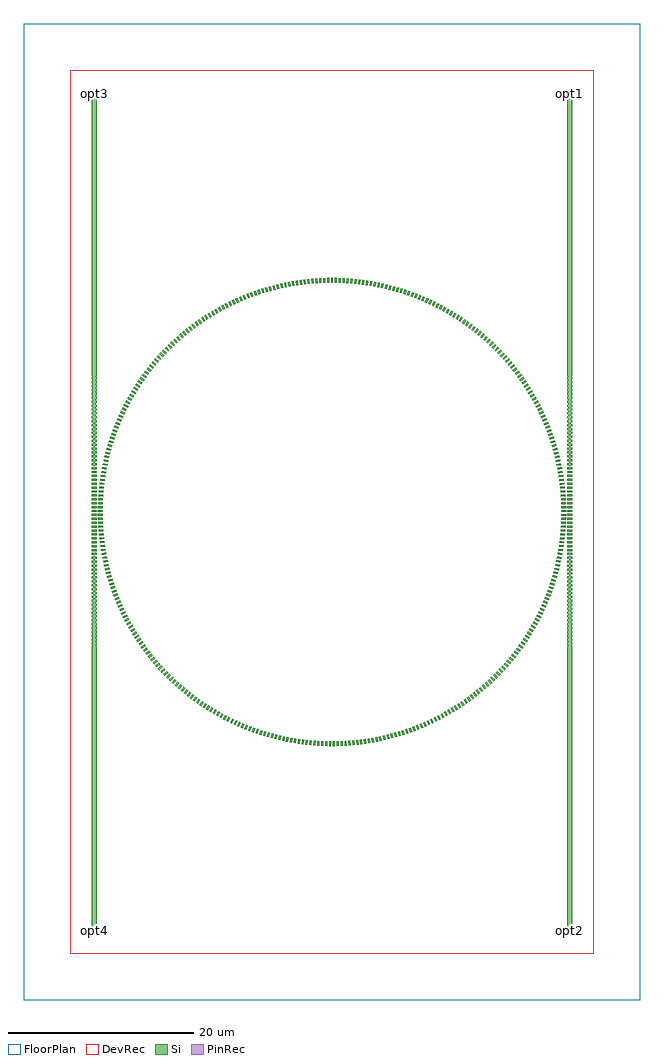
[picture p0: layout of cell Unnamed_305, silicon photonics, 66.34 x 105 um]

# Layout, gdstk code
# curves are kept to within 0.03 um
import gdstk
lib = gdstk.Library(unit=1e-6, precision=1e-09)
def R(c, l, rs):  # rectangles x0, y0, x1, y1
    for r in rs: c.add(gdstk.rectangle(r[:2], r[2:], *l))
def A(c, l, x, y, w, h, nx, ny, dx, dy):  # array of equal rectangles
    R(c, l, [(x+i*dx, y+j*dy, x+i*dx+w, y+j*dy+h) for i in range(nx) for j in range(ny)])
def P(c, l, *ps):  # polygons
    for p in ps: c.add(gdstk.Polygon(p, *l))
Si = (1, 0)
PinRec = (1, 10)
DevRec = (68, 0)
FloorPlan = (99, 0)

unnamed_305 = lib.new_cell('Unnamed_305')
A(unnamed_305, Si, -25.828, -4.62, 0.5, 0.21, 1, 23, 0, 0.42)
A(unnamed_305, Si, 25.328, -4.62, 0.5, 0.21, 1, 23, 0, 0.42)
P(unnamed_305, Si, [(-0.103,24.683),(-0.105,25.183),(0.107,25.183),(0.105,24.683)],
  [(12.76,21.129),(12.581,21.236),(12.836,21.666),(13.018,21.557)],
  [(10.937,22.128),(10.75,22.219),(10.968,22.669),(11.159,22.576)],
  [(10.563,22.309),(10.375,22.397),(10.585,22.851),(10.777,22.761)],
  [(10.186,22.484),(9.996,22.569),(10.198,23.026),(10.392,22.939)],
  [(25.548,4.91),(25.545,5.04),(25.328,5.04),(25.328,5.25),(25.541,5.25),(25.536,5.46),(25.328,5.46),(25.328,5.67),(25.531,5.67),(25.527,5.88),(25.328,5.88),(25.328,6.09),(25.522,6.09),(25.517,6.3),(25.328,6.3),(25.328,6.51),(25.513,6.51),(25.508,6.72),(25.328,6.72),(25.328,6.93),(25.504,6.93),(25.499,7.14),(25.328,7.14),(25.328,7.35),(25.494,7.35),(25.49,7.56),(25.328,7.56),(25.328,7.77),(25.485,7.77),(25.48,7.98),(25.328,7.98),(25.328,8.19),(25.476,8.19),(25.471,8.4),(25.328,8.4),(25.328,8.61),(25.467,8.61),(25.462,8.82),(25.328,8.82),(25.328,9.03),(25.457,9.03),(25.453,9.24),(25.328,9.24),(25.328,9.45),(25.448,9.45),(25.443,9.66),(25.328,9.66),(25.328,9.87),(25.439,9.87),(25.434,10.08),(25.328,10.08),(25.328,10.29),(25.43,10.29),(25.425,10.5),(25.328,10.5),(25.328,10.71),(25.42,10.71),(25.416,10.92),(25.328,10.92),(25.328,11.13),(25.411,11.13),(25.407,11.34),(25.328,11.34),(25.328,11.55),(25.402,11.55),(25.397,11.76),(25.328,11.76),(25.328,11.97),(25.393,11.97),(25.388,12.18),(25.328,12.18),(25.328,12.39),(25.383,12.39),(25.379,12.6),(25.328,12.6),(25.328,12.81),(25.374,12.81),(25.37,13.02),(25.328,13.02),(25.328,13.23),(25.365,13.23),(25.36,13.44),(25.328,13.44),(25.328,45),(25.828,45),(25.828,13.44),(25.796,13.44),(25.791,13.23),(25.828,13.23),(25.828,13.02),(25.786,13.02),(25.782,12.81),(25.828,12.81),(25.828,12.6),(25.777,12.6),(25.773,12.39),(25.828,12.39),(25.828,12.18),(25.768,12.18),(25.763,11.97),(25.828,11.97),(25.828,11.76),(25.759,11.76),(25.754,11.55),(25.828,11.55),(25.828,11.34),(25.749,11.34),(25.745,11.13),(25.828,11.13),(25.828,10.92),(25.74,10.92),(25.736,10.71),(25.828,10.71),(25.828,10.5),(25.731,10.5),(25.726,10.29),(25.828,10.29),(25.828,10.08),(25.722,10.08),(25.717,9.87),(25.828,9.87),(25.828,9.66),(25.712,9.66),(25.708,9.45),(25.828,9.45),(25.828,9.24),(25.703,9.24),(25.699,9.03),(25.828,9.03),(25.828,8.82),(25.694,8.82),(25.689,8.61),(25.828,8.61),(25.828,8.4),(25.685,8.4),(25.68,8.19),(25.828,8.19),(25.828,7.98),(25.676,7.98),(25.671,7.77),(25.828,7.77),(25.828,7.56),(25.666,7.56),(25.662,7.35),(25.828,7.35),(25.828,7.14),(25.657,7.14),(25.652,6.93),(25.828,6.93),(25.828,6.72),(25.648,6.72),(25.643,6.51),(25.828,6.51),(25.828,6.3),(25.639,6.3),(25.634,6.09),(25.828,6.09),(25.828,5.88),(25.629,5.88),(25.625,5.67),(25.828,5.67),(25.828,5.46),(25.62,5.46),(25.615,5.25),(25.828,5.25),(25.828,5.04),(25.611,5.04),(25.608,4.91)],
  [(9.422,22.814),(9.23,22.893),(9.417,23.356),(9.613,23.276)],
  [(9.037,22.969),(8.843,23.045),(9.022,23.512),(9.22,23.435)],
  [(8.649,23.118),(8.454,23.19),(8.625,23.66),(8.824,23.587)],
  [(8.258,23.261),(8.062,23.33),(8.225,23.802),(8.425,23.732)],
  [(7.865,23.397),(7.668,23.462),(7.823,23.937),(8.024,23.871)],
  [(7.47,23.526),(7.271,23.588),(7.419,24.066),(7.621,24.002)],
  [(7.073,23.648),(6.873,23.707),(7.012,24.187),(7.216,24.127)],
  [(6.673,23.764),(6.473,23.819),(6.604,24.302),(6.808,24.245)],
  [(6.272,23.873),(6.071,23.925),(6.194,24.41),(6.399,24.357)],
  [(5.869,23.975),(5.667,24.024),(5.782,24.511),(5.988,24.461)],
  [(5.464,24.071),(5.261,24.116),(5.368,24.604),(5.575,24.558)],
  [(5.058,24.159),(4.854,24.201),(4.953,24.691),(5.161,24.649)],
  [(4.65,24.241),(4.446,24.279),(4.536,24.771),(4.745,24.732)],
  [(4.241,24.316),(4.037,24.351),(4.118,24.844),(4.327,24.809)],
  [(3.831,24.384),(3.626,24.415),(3.699,24.91),(3.909,24.878)],
  [(3.42,24.445),(3.214,24.473),(3.279,24.969),(3.489,24.94)],
  [(3.008,24.499),(2.801,24.524),(2.858,25.02),(3.069,24.996)],
  [(2.595,24.546),(2.388,24.567),(2.436,25.065),(2.647,25.044)],
  [(2.181,24.587),(1.974,24.604),(2.014,25.103),(2.225,25.085)],
  [(1.766,24.62),(1.559,24.634),(1.591,25.133),(1.802,25.119)],
  [(1.352,24.646),(1.144,24.657),(1.167,25.156),(1.379,25.145)],
  [(0.936,24.665),(0.728,24.672),(0.743,25.172),(0.955,25.165)],
  [(0.521,24.678),(0.313,24.681),(0.319,25.181),(0.531,25.178)],
  [(9.805,22.652),(9.614,22.734),(9.809,23.194),(10.004,23.111)],
  [(12.402,21.341),(12.222,21.445),(12.469,21.879),(12.653,21.774)],
  [(12.041,21.547),(11.859,21.648),(12.099,22.086),(12.285,21.984)],
  [(11.676,21.747),(11.493,21.844),(11.725,22.287),(11.913,22.187)],
  [(11.308,21.94),(11.123,22.035),(11.348,22.481),(11.537,22.385)],
  [(23.008,8.939),(22.932,9.133),(23.396,9.318),(23.474,9.12)],
  [(22.854,9.325),(22.774,9.518),(23.236,9.71),(23.317,9.514)],
  [(22.693,9.709),(22.611,9.9),(23.069,10.1),(23.153,9.906)],
  [(22.527,10.09),(22.441,10.279),(22.896,10.488),(22.983,10.294)],
  [(22.354,10.468),(22.265,10.656),(22.716,10.872),(22.806,10.68)],
  [(22.174,10.843),(22.082,11.029),(22.529,11.253),(22.623,11.063)],
  [(21.988,11.215),(21.893,11.4),(22.337,11.631),(22.434,11.442)],
  [(21.796,11.584),(21.698,11.767),(22.137,12.005),(22.238,11.818)],
  [(21.598,11.949),(21.497,12.131),(21.932,12.376),(22.036,12.191)],
  [(21.394,12.311),(21.289,12.491),(21.721,12.744),(21.827,12.561)],
  [(21.183,12.67),(21.076,12.848),(21.503,13.108),(21.612,12.927)],
  [(20.967,13.025),(20.856,13.201),(21.279,13.468),(21.392,13.289)],
  [(20.745,13.376),(20.631,13.55),(21.049,13.825),(21.165,13.647)],
  [(20.516,13.724),(20.4,13.896),(20.813,14.178),(20.932,14.002)],
  [(20.282,14.067),(20.163,14.238),(20.571,14.526),(20.693,14.352)],
  [(20.042,14.407),(19.92,14.575),(20.324,14.871),(20.448,14.699)],
  [(19.797,14.743),(19.672,14.909),(20.071,15.211),(20.198,15.041)],
  [(19.546,15.074),(19.418,15.238),(19.811,15.547),(19.942,15.379)],
  [(19.289,15.401),(19.159,15.563),(19.547,15.878),(19.68,15.713)],
  [(19.027,15.724),(18.894,15.883),(19.277,16.205),(19.412,16.042)],
  [(18.759,16.042),(18.624,16.199),(19.001,16.528),(19.139,16.367)],
  [(18.487,16.356),(18.348,16.511),(18.72,16.845),(18.861,16.687)],
  [(18.208,16.665),(18.067,16.818),(18.433,17.158),(18.577,17.002)],
  [(17.925,16.969),(17.782,17.119),(18.142,17.466),(18.288,17.313)],
  [(17.637,17.269),(17.491,17.417),(17.845,17.769),(17.994,17.618)],
  [(17.343,17.563),(17.195,17.709),(17.543,18.067),(17.695,17.919)],
  [(17.045,17.853),(16.894,17.996),(17.236,18.36),(17.39,18.215)],
  [(16.742,18.137),(16.589,18.278),(16.925,18.648),(17.081,18.505)],
  [(16.434,18.417),(16.278,18.555),(16.608,18.93),(16.767,18.79)],
  [(16.122,18.691),(15.964,18.826),(16.287,19.208),(16.448,19.07)],
  [(15.804,18.96),(15.644,19.092),(15.961,19.479),(16.125,19.344)],
  [(15.483,19.223),(15.32,19.353),(15.631,19.745),(15.796,19.613)],
  [(15.157,19.482),(14.992,19.609),(15.296,20.006),(15.464,19.876)],
  [(14.827,19.734),(14.66,19.858),(14.957,20.261),(15.127,20.134)],
  [(14.492,19.981),(14.323,20.102),(14.613,20.51),(14.786,20.386)],
  [(14.153,20.222),(13.983,20.341),(14.266,20.753),(14.44,20.632)],
  [(13.811,20.458),(13.638,20.573),(13.914,20.99),(14.091,20.872)],
  [(13.464,20.688),(13.29,20.8),(13.559,21.222),(13.737,21.107)],
  [(13.114,20.911),(12.937,21.021),(13.199,21.447),(13.38,21.335)],
  [(24.683,0),(24.682,0.208),(25.182,0.212),(25.183,0)],
  [(24.68,0.416),(24.675,0.624),(25.175,0.636),(25.18,0.424)],
  [(24.669,0.831),(24.661,1.039),(25.161,1.06),(25.169,0.848)],
  [(24.652,1.247),(24.64,1.454),(25.139,1.484),(25.151,1.272)],
  [(24.627,1.662),(24.612,1.869),(25.111,1.907),(25.126,1.696)],
  [(24.596,2.076),(24.577,2.284),(25.075,2.33),(25.094,2.118)],
  [(24.557,2.49),(24.535,2.697),(25.032,2.752),(25.055,2.541)],
  [(24.512,2.904),(24.486,3.11),(24.983,3.173),(25.008,2.963)],
  [(24.459,3.316),(24.431,3.522),(24.926,3.593),(24.955,3.383)],
  [(24.4,3.728),(24.368,3.933),(24.861,4.013),(24.894,3.803)],
  [(24.334,4.138),(24.298,4.343),(24.79,4.431),(24.827,4.222)],
  [(24.261,4.547),(24.222,4.752),(24.712,4.848),(24.752,4.64)],
  [(24.181,4.955),(24.138,5.159),(24.627,5.263),(24.67,5.056)],
  [(24.094,5.362),(24.048,5.565),(24.535,5.677),(24.582,5.471)],
  [(24,5.767),(23.951,5.969),(24.436,6.09),(24.486,5.884)],
  [(23.899,6.171),(23.847,6.372),(24.33,6.501),(24.384,6.296)],
  [(23.792,6.572),(23.736,6.772),(24.217,6.91),(24.274,6.705)],
  [(23.678,6.972),(23.619,7.171),(24.097,7.316),(24.158,7.113)],
  [(23.557,7.37),(23.494,7.568),(23.97,7.721),(24.034,7.519)],
  [(23.43,7.766),(23.364,7.963),(23.837,8.124),(23.904,7.923)],
  [(23.296,8.159),(23.226,8.355),(23.697,8.524),(23.768,8.324)],
  [(23.155,8.55),(23.082,8.745),(23.55,8.922),(23.624,8.724)],
  [(-12.758,21.13),(-13.017,21.558),(-12.835,21.667),(-12.58,21.237)],
  [(-10.935,22.129),(-11.157,22.577),(-10.966,22.67),(-10.749,22.22)],
  [(-10.561,22.31),(-10.775,22.762),(-10.583,22.852),(-10.373,22.398)],
  [(-10.184,22.484),(-10.39,22.94),(-10.197,23.027),(-9.994,22.569)],
  [(-25.608,4.91),(-25.611,5.04),(-25.828,5.04),(-25.828,5.25),(-25.615,5.25),(-25.62,5.46),(-25.828,5.46),(-25.828,5.67),(-25.625,5.67),(-25.629,5.88),(-25.828,5.88),(-25.828,6.09),(-25.634,6.09),(-25.639,6.3),(-25.828,6.3),(-25.828,6.51),(-25.643,6.51),(-25.648,6.72),(-25.828,6.72),(-25.828,6.93),(-25.652,6.93),(-25.657,7.14),(-25.828,7.14),(-25.828,7.35),(-25.662,7.35),(-25.666,7.56),(-25.828,7.56),(-25.828,7.77),(-25.671,7.77),(-25.676,7.98),(-25.828,7.98),(-25.828,8.19),(-25.68,8.19),(-25.685,8.4),(-25.828,8.4),(-25.828,8.61),(-25.689,8.61),(-25.694,8.82),(-25.828,8.82),(-25.828,9.03),(-25.699,9.03),(-25.703,9.24),(-25.828,9.24),(-25.828,9.45),(-25.708,9.45),(-25.713,9.66),(-25.828,9.66),(-25.828,9.87),(-25.717,9.87),(-25.722,10.08),(-25.828,10.08),(-25.828,10.29),(-25.726,10.29),(-25.731,10.5),(-25.828,10.5),(-25.828,10.71),(-25.736,10.71),(-25.74,10.92),(-25.828,10.92),(-25.828,11.13),(-25.745,11.13),(-25.749,11.34),(-25.828,11.34),(-25.828,11.55),(-25.754,11.55),(-25.759,11.76),(-25.828,11.76),(-25.828,11.97),(-25.763,11.97),(-25.768,12.18),(-25.828,12.18),(-25.828,12.39),(-25.773,12.39),(-25.777,12.6),(-25.828,12.6),(-25.828,12.81),(-25.782,12.81),(-25.786,13.02),(-25.828,13.02),(-25.828,13.23),(-25.791,13.23),(-25.796,13.44),(-25.828,13.44),(-25.828,45),(-25.328,45),(-25.328,13.44),(-25.36,13.44),(-25.365,13.23),(-25.328,13.23),(-25.328,13.02),(-25.37,13.02),(-25.374,12.81),(-25.328,12.81),(-25.328,12.6),(-25.379,12.6),(-25.383,12.39),(-25.328,12.39),(-25.328,12.18),(-25.388,12.18),(-25.393,11.97),(-25.328,11.97),(-25.328,11.76),(-25.397,11.76),(-25.402,11.55),(-25.328,11.55),(-25.328,11.34),(-25.407,11.34),(-25.411,11.13),(-25.328,11.13),(-25.328,10.92),(-25.416,10.92),(-25.42,10.71),(-25.328,10.71),(-25.328,10.5),(-25.425,10.5),(-25.43,10.29),(-25.328,10.29),(-25.328,10.08),(-25.434,10.08),(-25.439,9.87),(-25.328,9.87),(-25.328,9.66),(-25.444,9.66),(-25.448,9.45),(-25.328,9.45),(-25.328,9.24),(-25.453,9.24),(-25.457,9.03),(-25.328,9.03),(-25.328,8.82),(-25.462,8.82),(-25.467,8.61),(-25.328,8.61),(-25.328,8.4),(-25.471,8.4),(-25.476,8.19),(-25.328,8.19),(-25.328,7.98),(-25.48,7.98),(-25.485,7.77),(-25.328,7.77),(-25.328,7.56),(-25.49,7.56),(-25.494,7.35),(-25.328,7.35),(-25.328,7.14),(-25.499,7.14),(-25.504,6.93),(-25.328,6.93),(-25.328,6.72),(-25.508,6.72),(-25.513,6.51),(-25.328,6.51),(-25.328,6.3),(-25.517,6.3),(-25.522,6.09),(-25.328,6.09),(-25.328,5.88),(-25.527,5.88),(-25.531,5.67),(-25.328,5.67),(-25.328,5.46),(-25.536,5.46),(-25.541,5.25),(-25.328,5.25),(-25.328,5.04),(-25.545,5.04),(-25.548,4.91)],
  [(-9.421,22.815),(-9.612,23.277),(-9.415,23.357),(-9.228,22.893)],
  [(-9.035,22.97),(-9.218,23.435),(-9.02,23.512),(-8.841,23.045)],
  [(-8.647,23.119),(-8.822,23.587),(-8.623,23.661),(-8.452,23.191)],
  [(-8.256,23.261),(-8.424,23.733),(-8.223,23.803),(-8.06,23.33)],
  [(-7.863,23.397),(-8.023,23.871),(-7.821,23.938),(-7.666,23.463)],
  [(-7.468,23.526),(-7.619,24.003),(-7.417,24.066),(-7.27,23.588)],
  [(-7.071,23.649),(-7.214,24.128),(-7.011,24.188),(-6.871,23.707)],
  [(-6.671,23.765),(-6.807,24.246),(-6.602,24.302),(-6.471,23.82)],
  [(-6.27,23.874),(-6.397,24.357),(-6.192,24.41),(-6.069,23.925)],
  [(-5.867,23.976),(-5.986,24.461),(-5.78,24.511),(-5.665,24.024)],
  [(-5.463,24.071),(-5.573,24.559),(-5.366,24.605),(-5.26,24.116)],
  [(-5.056,24.16),(-5.159,24.649),(-4.951,24.692),(-4.853,24.202)],
  [(-4.649,24.242),(-4.743,24.733),(-4.534,24.772),(-4.444,24.28)],
  [(-4.24,24.316),(-4.326,24.809),(-4.116,24.844),(-4.035,24.351)],
  [(-3.83,24.384),(-3.907,24.878),(-3.697,24.91),(-3.624,24.416)],
  [(-3.418,24.445),(-3.487,24.941),(-3.277,24.969),(-3.212,24.473)],
  [(-3.006,24.499),(-3.067,24.996),(-2.856,25.021),(-2.8,24.524)],
  [(-2.593,24.547),(-2.645,25.044),(-2.434,25.065),(-2.386,24.568)],
  [(-2.179,24.587),(-2.223,25.085),(-2.012,25.103),(-1.972,24.604)],
  [(-1.765,24.62),(-1.8,25.119),(-1.589,25.133),(-1.557,24.634)],
  [(-1.35,24.646),(-1.377,25.146),(-1.165,25.156),(-1.142,24.657)],
  [(-0.934,24.666),(-0.953,25.165),(-0.741,25.172),(-0.727,24.673)],
  [(-0.519,24.678),(-0.529,25.178),(-0.317,25.181),(-0.311,24.681)],
  [(-9.804,22.653),(-10.002,23.112),(-9.807,23.195),(-9.613,22.735)],
  [(-14.491,19.982),(-14.784,20.387),(-14.612,20.511),(-14.322,20.103)],
  [(-23.007,8.941),(-23.473,9.122),(-23.395,9.319),(-22.931,9.134)],
  [(-14.152,20.223),(-14.439,20.633),(-14.264,20.754),(-13.981,20.342)],
  [(-24.459,3.318),(-24.955,3.385),(-24.925,3.595),(-24.43,3.524)],
  [(-13.809,20.459),(-14.089,20.873),(-13.913,20.991),(-13.636,20.574)],
  [(-22.853,9.327),(-23.316,9.516),(-23.235,9.712),(-22.774,9.519)],
  [(-13.463,20.689),(-13.735,21.108),(-13.557,21.223),(-13.288,20.801)],
  [(-13.112,20.912),(-13.378,21.336),(-13.198,21.448),(-12.936,21.022)],
  [(-22.693,9.711),(-23.152,9.907),(-23.068,10.102),(-22.61,9.902)],
  [(-19.026,15.725),(-19.411,16.044),(-19.275,16.207),(-18.893,15.885)],
  [(-22.526,10.092),(-22.982,10.296),(-22.895,10.489),(-22.44,10.281)],
  [(-24.627,1.664),(-25.126,1.697),(-25.111,1.909),(-24.612,1.871)],
  [(-22.353,10.47),(-22.806,10.682),(-22.715,10.873),(-22.264,10.658)],
  [(-24.4,3.73),(-24.894,3.805),(-24.861,4.015),(-24.368,3.935)],
  [(-24.557,2.492),(-25.055,2.543),(-25.032,2.754),(-24.535,2.699)],
  [(-22.173,10.845),(-22.622,11.064),(-22.528,11.254),(-22.081,11.031)],
  [(-18.758,16.043),(-19.138,16.368),(-19,16.529),(-18.622,16.201)],
  [(-23.899,6.172),(-24.383,6.297),(-24.329,6.502),(-23.846,6.373)],
  [(-21.987,11.217),(-22.433,11.444),(-22.336,11.632),(-21.892,11.401)],
  [(-18.485,16.357),(-18.86,16.688),(-18.719,16.847),(-18.347,16.512)],
  [(-18.207,16.666),(-18.576,17.004),(-18.432,17.16),(-18.066,16.819)],
  [(-21.795,11.585),(-22.237,11.82),(-22.137,12.007),(-21.697,11.769)],
  [(-23.792,6.574),(-24.274,6.707),(-24.216,6.911),(-23.735,6.774)],
  [(-21.597,11.951),(-22.035,12.193),(-21.931,12.378),(-21.496,12.132)],
  [(-17.924,16.97),(-18.287,17.314),(-18.14,17.468),(-17.78,17.121)],
  [(-24.334,4.14),(-24.826,4.224),(-24.79,4.433),(-24.298,4.345)],
  [(-24.68,0.418),(-25.18,0.426),(-25.175,0.638),(-24.675,0.625)],
  [(-17.635,17.27),(-17.993,17.62),(-17.844,17.771),(-17.489,17.418)],
  [(-21.393,12.313),(-21.826,12.562),(-21.72,12.746),(-21.288,12.493)],
  [(-23.678,6.974),(-24.157,7.115),(-24.096,7.318),(-23.618,7.173)],
  [(-17.342,17.565),(-17.693,17.92),(-17.542,18.069),(-17.194,17.71)],
  [(-21.182,12.672),(-21.611,12.928),(-21.502,13.11),(-21.075,12.849)],
  [(-24.652,1.249),(-25.151,1.274),(-25.139,1.486),(-24.64,1.456)],
  [(-24.669,0.833),(-25.169,0.85),(-25.161,1.062),(-24.661,1.041)],
  [(-17.044,17.854),(-17.389,18.216),(-17.235,18.362),(-16.893,17.997)],
  [(-20.966,13.026),(-21.391,13.29),(-21.278,13.47),(-20.856,13.203)],
  [(-24.596,2.078),(-25.094,2.12),(-25.075,2.332),(-24.577,2.285)],
  [(-23.557,7.372),(-24.034,7.521),(-23.97,7.723),(-23.494,7.57)],
  [(-20.744,13.378),(-21.164,13.649),(-21.048,13.827),(-20.63,13.552)],
  [(-16.741,18.139),(-17.08,18.506),(-16.923,18.649),(-16.587,18.279)],
  [(-24.26,4.549),(-24.752,4.641),(-24.712,4.85),(-24.221,4.753)],
  [(-24.512,2.906),(-25.008,2.964),(-24.982,3.175),(-24.486,3.112)],
  [(-16.433,18.418),(-16.766,18.791),(-16.607,18.932),(-16.277,18.556)],
  [(-20.515,13.725),(-20.931,14.003),(-20.812,14.179),(-20.399,13.898)],
  [(-23.429,7.767),(-23.904,7.925),(-23.836,8.126),(-23.363,7.964)],
  [(-16.12,18.692),(-16.447,19.071),(-16.286,19.209),(-15.962,18.827)],
  [(-20.281,14.069),(-20.692,14.354),(-20.57,14.528),(-20.162,14.239)],
  [(-24.18,4.957),(-24.67,5.058),(-24.627,5.265),(-24.138,5.161)],
  [(-15.803,18.961),(-16.123,19.345),(-15.96,19.48),(-15.643,19.094)],
  [(-20.041,14.409),(-20.447,14.7),(-20.323,14.872),(-19.919,14.577)],
  [(-23.295,8.161),(-23.767,8.326),(-23.696,8.526),(-23.226,8.357)],
  [(-15.481,19.225),(-15.795,19.614),(-15.629,19.746),(-15.319,19.354)],
  [(-19.796,14.744),(-20.197,15.043),(-20.069,15.212),(-19.671,14.91)],
  [(-24.093,5.364),(-24.581,5.472),(-24.534,5.679),(-24.047,5.567)],
  [(-15.155,19.483),(-15.462,19.877),(-15.294,20.007),(-14.991,19.61)],
  [(-19.545,15.075),(-19.941,15.381),(-19.81,15.548),(-19.417,15.239)],
  [(-23.154,8.552),(-23.623,8.725),(-23.549,8.924),(-23.081,8.747)],
  [(-25.183,0.002),(-25.182,0.214),(-24.682,0.21),(-24.683,0.002)],
  [(-19.288,15.402),(-19.679,15.714),(-19.546,15.88),(-19.158,15.564)],
  [(-14.825,19.735),(-15.125,20.135),(-14.955,20.262),(-14.658,19.859)],
  [(-24,5.769),(-24.486,5.886),(-24.435,6.092),(-23.95,5.971)],
  [(-11.675,21.748),(-11.911,22.188),(-11.724,22.288),(-11.491,21.845)],
  [(-12.039,21.548),(-12.283,21.985),(-12.098,22.087),(-11.857,21.649)],
  [(-11.307,21.941),(-11.536,22.386),(-11.347,22.482),(-11.121,22.036)],
  [(-12.401,21.342),(-12.652,21.774),(-12.468,21.88),(-12.22,21.446)],
  [(-10.394,-22.938),(-10.586,-22.85),(-10.376,-22.396),(-10.187,-22.483)],
  [(-10.778,-22.76),(-10.97,-22.668),(-10.752,-22.218),(-10.564,-22.308)],
  [(-11.16,-22.575),(-11.35,-22.48),(-11.125,-22.034),(-10.939,-22.127)],
  [(-13.02,-21.556),(-13.201,-21.446),(-12.939,-21.02),(-12.761,-21.128)],
  [(-25.828,-45),(-25.828,-13.23),(-25.796,-13.23),(-25.791,-13.02),(-25.828,-13.02),(-25.828,-12.81),(-25.786,-12.81),(-25.782,-12.6),(-25.828,-12.6),(-25.828,-12.39),(-25.777,-12.39),(-25.773,-12.18),(-25.828,-12.18),(-25.828,-11.97),(-25.768,-11.97),(-25.763,-11.76),(-25.828,-11.76),(-25.828,-11.55),(-25.759,-11.55),(-25.754,-11.34),(-25.828,-11.34),(-25.828,-11.13),(-25.749,-11.13),(-25.745,-10.92),(-25.828,-10.92),(-25.828,-10.71),(-25.74,-10.71),(-25.736,-10.5),(-25.828,-10.5),(-25.828,-10.29),(-25.731,-10.29),(-25.726,-10.08),(-25.828,-10.08),(-25.828,-9.87),(-25.722,-9.87),(-25.717,-9.66),(-25.828,-9.66),(-25.828,-9.45),(-25.713,-9.45),(-25.708,-9.24),(-25.828,-9.24),(-25.828,-9.03),(-25.703,-9.03),(-25.699,-8.82),(-25.828,-8.82),(-25.828,-8.61),(-25.694,-8.61),(-25.689,-8.4),(-25.828,-8.4),(-25.828,-8.19),(-25.685,-8.19),(-25.68,-7.98),(-25.828,-7.98),(-25.828,-7.77),(-25.676,-7.77),(-25.671,-7.56),(-25.828,-7.56),(-25.828,-7.35),(-25.666,-7.35),(-25.662,-7.14),(-25.828,-7.14),(-25.828,-6.93),(-25.657,-6.93),(-25.652,-6.72),(-25.828,-6.72),(-25.828,-6.51),(-25.648,-6.51),(-25.643,-6.3),(-25.828,-6.3),(-25.828,-6.09),(-25.639,-6.09),(-25.634,-5.88),(-25.828,-5.88),(-25.828,-5.67),(-25.629,-5.67),(-25.625,-5.46),(-25.828,-5.46),(-25.828,-5.25),(-25.62,-5.25),(-25.615,-5.04),(-25.828,-5.04),(-25.828,-4.83),(-25.611,-4.83),(-25.608,-4.7),(-25.548,-4.7),(-25.545,-4.83),(-25.328,-4.83),(-25.328,-5.04),(-25.541,-5.04),(-25.536,-5.25),(-25.328,-5.25),(-25.328,-5.46),(-25.531,-5.46),(-25.527,-5.67),(-25.328,-5.67),(-25.328,-5.88),(-25.522,-5.88),(-25.517,-6.09),(-25.328,-6.09),(-25.328,-6.3),(-25.513,-6.3),(-25.508,-6.51),(-25.328,-6.51),(-25.328,-6.72),(-25.504,-6.72),(-25.499,-6.93),(-25.328,-6.93),(-25.328,-7.14),(-25.494,-7.14),(-25.49,-7.35),(-25.328,-7.35),(-25.328,-7.56),(-25.485,-7.56),(-25.48,-7.77),(-25.328,-7.77),(-25.328,-7.98),(-25.476,-7.98),(-25.471,-8.19),(-25.328,-8.19),(-25.328,-8.4),(-25.467,-8.4),(-25.462,-8.61),(-25.328,-8.61),(-25.328,-8.82),(-25.457,-8.82),(-25.453,-9.03),(-25.328,-9.03),(-25.328,-9.24),(-25.448,-9.24),(-25.444,-9.45),(-25.328,-9.45),(-25.328,-9.66),(-25.439,-9.66),(-25.434,-9.87),(-25.328,-9.87),(-25.328,-10.08),(-25.43,-10.08),(-25.425,-10.29),(-25.328,-10.29),(-25.328,-10.5),(-25.42,-10.5),(-25.416,-10.71),(-25.328,-10.71),(-25.328,-10.92),(-25.411,-10.92),(-25.407,-11.13),(-25.328,-11.13),(-25.328,-11.34),(-25.402,-11.34),(-25.397,-11.55),(-25.328,-11.55),(-25.328,-11.76),(-25.393,-11.76),(-25.388,-11.97),(-25.328,-11.97),(-25.328,-12.18),(-25.383,-12.18),(-25.379,-12.39),(-25.328,-12.39),(-25.328,-12.6),(-25.374,-12.6),(-25.37,-12.81),(-25.328,-12.81),(-25.328,-13.02),(-25.365,-13.02),(-25.36,-13.23),(-25.328,-13.23),(-25.328,-45)],
  [(-12.286,-21.983),(-12.471,-21.878),(-12.224,-21.444),(-12.042,-21.546)],
  [(-12.655,-21.773),(-12.838,-21.665),(-12.583,-21.235),(-12.404,-21.34)],
  [(-11.539,-22.384),(-11.727,-22.286),(-11.494,-21.844),(-11.31,-21.94)],
  [(-11.914,-22.187),(-12.101,-22.085),(-11.861,-21.647),(-11.678,-21.746)],
  [(-13.739,-21.106),(-13.916,-20.989),(-13.64,-20.572),(-13.466,-20.687)],
  [(-14.092,-20.871),(-14.267,-20.752),(-13.984,-20.34),(-13.812,-20.457)],
  [(-14.442,-20.631),(-14.615,-20.508),(-14.325,-20.101),(-14.155,-20.221)],
  [(-14.787,-20.385),(-14.958,-20.259),(-14.661,-19.857),(-14.494,-19.98)],
  [(-15.128,-20.133),(-15.297,-20.005),(-14.994,-19.607),(-14.828,-19.733)],
  [(-15.465,-19.875),(-15.632,-19.744),(-15.322,-19.352),(-15.158,-19.48)],
  [(-15.798,-19.612),(-15.963,-19.478),(-15.646,-19.091),(-15.484,-19.222)],
  [(-16.126,-19.343),(-16.288,-19.206),(-15.965,-18.825),(-15.806,-18.959)],
  [(-16.45,-19.068),(-16.61,-18.929),(-16.28,-18.553),(-16.123,-18.69)],
  [(-16.768,-18.789),(-16.926,-18.647),(-16.59,-18.277),(-16.435,-18.416)],
  [(-17.082,-18.504),(-17.238,-18.359),(-16.895,-17.995),(-16.743,-18.136)],
  [(-17.392,-18.213),(-17.545,-18.066),(-17.196,-17.707),(-17.046,-17.852)],
  [(-17.696,-17.918),(-17.846,-17.768),(-17.492,-17.415),(-17.345,-17.562)],
  [(-17.995,-17.617),(-18.143,-17.465),(-17.783,-17.118),(-17.638,-17.267)],
  [(-18.29,-17.311),(-18.435,-17.157),(-18.069,-16.816),(-17.926,-16.968)],
  [(-18.579,-17.001),(-18.721,-16.844),(-18.349,-16.509),(-18.21,-16.663)],
  [(-18.862,-16.686),(-19.002,-16.526),(-18.625,-16.198),(-18.488,-16.354)],
  [(-19.141,-16.366),(-19.278,-16.204),(-18.895,-15.882),(-18.761,-16.041)],
  [(-19.414,-16.041),(-19.548,-15.877),(-19.16,-15.562),(-19.028,-15.722)],
  [(-19.681,-15.712),(-19.813,-15.545),(-19.419,-15.237),(-19.29,-15.4)],
  [(-19.943,-15.378),(-20.072,-15.209),(-19.673,-14.907),(-19.547,-15.072)],
  [(-20.199,-15.04),(-20.325,-14.869),(-19.921,-14.574),(-19.798,-14.741)],
  [(-20.449,-14.697),(-20.573,-14.525),(-20.164,-14.236),(-20.043,-14.406)],
  [(-20.694,-14.351),(-20.814,-14.176),(-20.401,-13.895),(-20.283,-14.066)],
  [(-20.933,-14),(-21.05,-13.823),(-20.632,-13.549),(-20.517,-13.722)],
  [(-21.166,-13.646),(-21.28,-13.467),(-20.857,-13.2),(-20.746,-13.375)],
  [(-21.393,-13.287),(-21.504,-13.107),(-21.077,-12.846),(-20.968,-13.023)],
  [(-21.613,-12.925),(-21.721,-12.742),(-21.29,-12.489),(-21.184,-12.668)],
  [(-21.828,-12.559),(-21.933,-12.375),(-21.498,-12.129),(-21.395,-12.31)],
  [(-22.036,-12.19),(-22.138,-12.004),(-21.699,-11.765),(-21.599,-11.948)],
  [(-22.239,-11.817),(-22.337,-11.629),(-21.894,-11.398),(-21.797,-11.582)],
  [(-22.435,-11.44),(-22.53,-11.251),(-22.083,-11.028),(-21.989,-11.213)],
  [(-22.624,-11.061),(-22.716,-10.87),(-22.265,-10.654),(-22.175,-10.841)],
  [(-22.807,-10.678),(-22.896,-10.486),(-22.442,-10.278),(-22.354,-10.466)],
  [(-22.984,-10.293),(-23.07,-10.099),(-22.612,-9.898),(-22.527,-10.088)],
  [(-23.154,-9.904),(-23.237,-9.709),(-22.775,-9.516),(-22.694,-9.707)],
  [(-23.317,-9.513),(-23.397,-9.316),(-22.932,-9.131),(-22.855,-9.324)],
  [(-23.474,-9.119),(-23.55,-8.921),(-23.083,-8.743),(-23.008,-8.937)],
  [(-23.625,-8.722),(-23.697,-8.523),(-23.227,-8.353),(-23.156,-8.549)],
  [(-23.768,-8.323),(-23.837,-8.122),(-23.364,-7.961),(-23.296,-8.157)],
  [(-23.905,-7.921),(-23.971,-7.72),(-23.495,-7.566),(-23.43,-7.764)],
  [(-24.035,-7.517),(-24.098,-7.315),(-23.619,-7.169),(-23.558,-7.368)],
  [(-24.158,-7.111),(-24.217,-6.908),(-23.736,-6.771),(-23.679,-6.97)],
  [(-24.275,-6.704),(-24.33,-6.499),(-23.847,-6.37),(-23.793,-6.57)],
  [(-24.384,-6.294),(-24.436,-6.088),(-23.951,-5.967),(-23.9,-6.169)],
  [(-24.487,-5.882),(-24.535,-5.676),(-24.048,-5.563),(-24,-5.765)],
  [(-24.582,-5.469),(-24.627,-5.262),(-24.138,-5.157),(-24.094,-5.36)],
  [(-24.671,-5.054),(-24.713,-4.846),(-24.222,-4.75),(-24.181,-4.954)],
  [(-13.381,-21.334),(-13.56,-21.221),(-13.291,-20.799),(-13.115,-20.91)],
  [(-24.752,-4.638),(-24.791,-4.429),(-24.298,-4.341),(-24.261,-4.546)],
  [(-24.827,-4.22),(-24.862,-4.011),(-24.368,-3.931),(-24.334,-4.136)],
  [(-24.895,-3.801),(-24.926,-3.592),(-24.431,-3.52),(-24.4,-3.726)],
  [(-24.955,-3.381),(-24.983,-3.171),(-24.487,-3.108),(-24.46,-3.314)],
  [(-25.009,-2.961),(-25.033,-2.75),(-24.536,-2.695),(-24.512,-2.902)],
  [(-25.055,-2.539),(-25.075,-2.328),(-24.578,-2.282),(-24.557,-2.489)],
  [(-25.094,-2.117),(-25.111,-1.905),(-24.612,-1.867),(-24.596,-2.075)],
  [(-25.126,-1.694),(-25.14,-1.482),(-24.64,-1.453),(-24.627,-1.66)],
  [(-25.151,-1.27),(-25.161,-1.058),(-24.661,-1.037),(-24.652,-1.245)],
  [(-25.169,-0.846),(-25.175,-0.634),(-24.675,-0.622),(-24.669,-0.83)],
  [(-25.18,-0.422),(-25.182,-0.21),(-24.682,-0.206),(-24.68,-0.414)],
  [(-7.218,-24.127),(-7.421,-24.065),(-7.273,-23.587),(-7.074,-23.648)],
  [(-7.623,-24.002),(-7.825,-23.937),(-7.67,-23.461),(-7.472,-23.525)],
  [(-8.026,-23.87),(-8.227,-23.802),(-8.064,-23.329),(-7.867,-23.396)],
  [(-8.427,-23.731),(-8.627,-23.66),(-8.455,-23.19),(-8.26,-23.26)],
  [(-8.826,-23.586),(-9.024,-23.511),(-8.845,-23.044),(-8.65,-23.118)],
  [(-9.222,-23.434),(-9.419,-23.356),(-9.232,-22.892),(-9.039,-22.969)],
  [(-9.615,-23.275),(-9.811,-23.194),(-9.616,-22.733),(-9.424,-22.813)],
  [(-10.006,-23.11),(-10.2,-23.025),(-9.998,-22.568),(-9.807,-22.651)],
  [(-1.381,-25.145),(-1.592,-25.133),(-1.561,-24.634),(-1.353,-24.646)],
  [(-1.804,-25.119),(-2.016,-25.102),(-1.976,-24.604),(-1.768,-24.62)],
  [(-2.227,-25.085),(-2.438,-25.065),(-2.39,-24.567),(-2.183,-24.587)],
  [(-2.649,-25.043),(-2.86,-25.02),(-2.803,-24.524),(-2.597,-24.546)],
  [(-3.071,-24.995),(-3.281,-24.969),(-3.216,-24.473),(-3.01,-24.499)],
  [(-3.491,-24.94),(-3.701,-24.91),(-3.628,-24.415),(-3.422,-24.445)],
  [(-3.911,-24.878),(-4.12,-24.844),(-4.038,-24.351),(-3.833,-24.384)],
  [(-4.329,-24.808),(-4.538,-24.771),(-4.448,-24.279),(-4.243,-24.316)],
  [(-4.747,-24.732),(-4.955,-24.691),(-4.856,-24.201),(-4.652,-24.241)],
  [(-5.162,-24.648),(-5.37,-24.604),(-5.263,-24.116),(-5.06,-24.159)],
  [(-5.577,-24.558),(-5.783,-24.51),(-5.669,-24.023),(-5.466,-24.07)],
  [(-5.99,-24.461),(-6.196,-24.409),(-6.073,-23.925),(-5.871,-23.975)],
  [(-6.401,-24.356),(-6.606,-24.301),(-6.475,-23.819),(-6.274,-23.873)],
  [(-6.81,-24.245),(-7.014,-24.187),(-6.875,-23.706),(-6.675,-23.764)],
  [(-0.109,-25.183),(-0.321,-25.181),(-0.315,-24.681),(-0.107,-24.683)],
  [(-0.533,-25.178),(-0.745,-25.172),(-0.73,-24.672),(-0.522,-24.678)],
  [(-0.957,-25.165),(-1.169,-25.156),(-1.146,-24.657),(-0.938,-24.665)],
  [(11.155,-22.578),(10.934,-22.129),(11.12,-22.037),(11.345,-22.483)],
  [(13.015,-21.559),(12.757,-21.131),(12.934,-21.023),(13.196,-21.449)],
  [(25.328,-45),(25.328,-13.23),(25.36,-13.23),(25.365,-13.02),(25.328,-13.02),(25.328,-12.81),(25.37,-12.81),(25.374,-12.6),(25.328,-12.6),(25.328,-12.39),(25.379,-12.39),(25.383,-12.18),(25.328,-12.18),(25.328,-11.97),(25.388,-11.97),(25.393,-11.76),(25.328,-11.76),(25.328,-11.55),(25.397,-11.55),(25.402,-11.34),(25.328,-11.34),(25.328,-11.13),(25.407,-11.13),(25.411,-10.92),(25.328,-10.92),(25.328,-10.71),(25.416,-10.71),(25.42,-10.5),(25.328,-10.5),(25.328,-10.29),(25.425,-10.29),(25.43,-10.08),(25.328,-10.08),(25.328,-9.87),(25.434,-9.87),(25.439,-9.66),(25.328,-9.66),(25.328,-9.45),(25.443,-9.45),(25.448,-9.24),(25.328,-9.24),(25.328,-9.03),(25.453,-9.03),(25.457,-8.82),(25.328,-8.82),(25.328,-8.61),(25.462,-8.61),(25.467,-8.4),(25.328,-8.4),(25.328,-8.19),(25.471,-8.19),(25.476,-7.98),(25.328,-7.98),(25.328,-7.77),(25.48,-7.77),(25.485,-7.56),(25.328,-7.56),(25.328,-7.35),(25.49,-7.35),(25.494,-7.14),(25.328,-7.14),(25.328,-6.93),(25.499,-6.93),(25.504,-6.72),(25.328,-6.72),(25.328,-6.51),(25.508,-6.51),(25.513,-6.3),(25.328,-6.3),(25.328,-6.09),(25.517,-6.09),(25.522,-5.88),(25.328,-5.88),(25.328,-5.67),(25.527,-5.67),(25.531,-5.46),(25.328,-5.46),(25.328,-5.25),(25.536,-5.25),(25.541,-5.04),(25.328,-5.04),(25.328,-4.83),(25.545,-4.83),(25.548,-4.7),(25.608,-4.7),(25.611,-4.83),(25.828,-4.83),(25.828,-5.04),(25.615,-5.04),(25.62,-5.25),(25.828,-5.25),(25.828,-5.46),(25.625,-5.46),(25.629,-5.67),(25.828,-5.67),(25.828,-5.88),(25.634,-5.88),(25.639,-6.09),(25.828,-6.09),(25.828,-6.3),(25.643,-6.3),(25.648,-6.51),(25.828,-6.51),(25.828,-6.72),(25.652,-6.72),(25.657,-6.93),(25.828,-6.93),(25.828,-7.14),(25.662,-7.14),(25.666,-7.35),(25.828,-7.35),(25.828,-7.56),(25.671,-7.56),(25.676,-7.77),(25.828,-7.77),(25.828,-7.98),(25.68,-7.98),(25.685,-8.19),(25.828,-8.19),(25.828,-8.4),(25.689,-8.4),(25.694,-8.61),(25.828,-8.61),(25.828,-8.82),(25.699,-8.82),(25.703,-9.03),(25.828,-9.03),(25.828,-9.24),(25.708,-9.24),(25.712,-9.45),(25.828,-9.45),(25.828,-9.66),(25.717,-9.66),(25.722,-9.87),(25.828,-9.87),(25.828,-10.08),(25.726,-10.08),(25.731,-10.29),(25.828,-10.29),(25.828,-10.5),(25.736,-10.5),(25.74,-10.71),(25.828,-10.71),(25.828,-10.92),(25.745,-10.92),(25.749,-11.13),(25.828,-11.13),(25.828,-11.34),(25.754,-11.34),(25.759,-11.55),(25.828,-11.55),(25.828,-11.76),(25.763,-11.76),(25.768,-11.97),(25.828,-11.97),(25.828,-12.18),(25.773,-12.18),(25.777,-12.39),(25.828,-12.39),(25.828,-12.6),(25.782,-12.6),(25.786,-12.81),(25.828,-12.81),(25.828,-13.02),(25.791,-13.02),(25.796,-13.23),(25.828,-13.23),(25.828,-45)],
  [(10.388,-22.941),(10.182,-22.485),(10.371,-22.399),(10.581,-22.852)],
  [(10.773,-22.762),(10.56,-22.31),(10.747,-22.221),(10.965,-22.671)],
  [(20.93,-14.005),(20.514,-13.727),(20.629,-13.554),(21.047,-13.828)],
  [(21.163,-13.65),(20.743,-13.379),(20.855,-13.204),(21.277,-13.472)],
  [(21.39,-13.292),(20.965,-13.028),(21.074,-12.851),(21.501,-13.111)],
  [(21.611,-12.93),(21.181,-12.673),(21.287,-12.494),(21.719,-12.747)],
  [(21.825,-12.564),(21.392,-12.315),(21.495,-12.134),(21.93,-12.38)],
  [(22.034,-12.195),(21.596,-11.952),(21.696,-11.77),(22.136,-12.009)],
  [(22.236,-11.822),(21.795,-11.587),(21.891,-11.403),(22.335,-11.634)],
  [(19.939,-15.382),(19.544,-15.077),(19.67,-14.912),(20.068,-15.214)],
  [(22.432,-11.445),(21.987,-11.218),(22.08,-11.033),(22.528,-11.256)],
  [(22.622,-11.066),(22.172,-10.846),(22.263,-10.659),(22.714,-10.875)],
  [(13.376,-21.337),(13.111,-20.913),(13.286,-20.802),(13.556,-21.224)],
  [(22.805,-10.683),(22.352,-10.471),(22.439,-10.283),(22.894,-10.491)],
  [(22.982,-10.298),(22.525,-10.093),(22.609,-9.903),(23.067,-10.104)],
  [(13.734,-21.109),(13.461,-20.69),(13.635,-20.575),(13.911,-20.992)],
  [(23.152,-9.909),(22.692,-9.712),(22.773,-9.521),(23.234,-9.714)],
  [(23.315,-9.518),(22.852,-9.329),(22.93,-9.136),(23.395,-9.321)],
  [(14.087,-20.874),(13.808,-20.46),(13.98,-20.343),(14.263,-20.755)],
  [(23.472,-9.124),(23.006,-8.943),(23.081,-8.749),(23.548,-8.926)],
  [(23.623,-8.727),(23.154,-8.554),(23.225,-8.359),(23.695,-8.528)],
  [(14.437,-20.634),(14.15,-20.224),(14.32,-20.105),(14.61,-20.512)],
  [(23.766,-8.328),(23.294,-8.163),(23.362,-7.966),(23.836,-8.128)],
  [(23.903,-7.926),(23.429,-7.769),(23.493,-7.572),(23.969,-7.725)],
  [(14.783,-20.388),(14.489,-19.983),(14.657,-19.86),(14.954,-20.263)],
  [(24.033,-7.523),(23.556,-7.373),(23.617,-7.175),(24.096,-7.32)],
  [(24.157,-7.117),(23.677,-6.976),(23.735,-6.776),(24.216,-6.913)],
  [(15.124,-20.136),(14.824,-19.736),(14.989,-19.611),(15.293,-20.008)],
  [(24.273,-6.709),(23.791,-6.576),(23.846,-6.375),(24.329,-6.504)],
  [(24.383,-6.299),(23.899,-6.174),(23.95,-5.973),(24.435,-6.094)],
  [(15.461,-19.878),(15.154,-19.484),(15.318,-19.355),(15.628,-19.748)],
  [(24.485,-5.888),(23.999,-5.771),(24.047,-5.568),(24.534,-5.681)],
  [(24.581,-5.474),(24.093,-5.366),(24.137,-5.163),(24.626,-5.267)],
  [(15.794,-19.615),(15.48,-19.226),(15.641,-19.095),(15.958,-19.482)],
  [(24.67,-5.059),(24.18,-4.959),(24.221,-4.755),(24.711,-4.852)],
  [(16.122,-19.346),(15.802,-18.962),(15.961,-18.829),(16.284,-19.21)],
  [(20.196,-15.044),(19.795,-14.746),(19.918,-14.578),(20.322,-14.874)],
  [(24.751,-4.643),(24.26,-4.551),(24.297,-4.347),(24.79,-4.435)],
  [(16.445,-19.072),(16.119,-18.693),(16.276,-18.557),(16.605,-18.933)],
  [(24.826,-4.226),(24.333,-4.142),(24.367,-3.937),(24.861,-4.016)],
  [(16.764,-18.792),(16.431,-18.419),(16.586,-18.28),(16.922,-18.651)],
  [(24.894,-3.807),(24.4,-3.731),(24.43,-3.526),(24.925,-3.597)],
  [(17.078,-18.507),(16.739,-18.14),(16.891,-17.998),(17.234,-18.363)],
  [(24.954,-3.387),(24.459,-3.32),(24.486,-3.114),(24.982,-3.177)],
  [(17.388,-18.217),(17.042,-17.855),(17.192,-17.711),(17.54,-18.07)],
  [(25.008,-2.966),(24.511,-2.907),(24.535,-2.701),(25.032,-2.756)],
  [(17.692,-17.922),(17.341,-17.566),(17.488,-17.419),(17.842,-17.772)],
  [(25.054,-2.545),(24.557,-2.494),(24.577,-2.287),(25.075,-2.333)],
  [(17.991,-17.621),(17.634,-17.271),(17.779,-17.122),(18.139,-17.469)],
  [(25.094,-2.122),(24.595,-2.08),(24.612,-1.873),(25.111,-1.911)],
  [(18.286,-17.316),(17.923,-16.972),(18.065,-16.82),(18.431,-17.161)],
  [(25.126,-1.699),(24.627,-1.666),(24.64,-1.458),(25.139,-1.488)],
  [(18.575,-17.005),(18.206,-16.667),(18.346,-16.514),(18.717,-16.848)],
  [(25.151,-1.276),(24.652,-1.25),(24.661,-1.043),(25.161,-1.064)],
  [(18.859,-16.69),(18.484,-16.358),(18.621,-16.202),(18.998,-16.53)],
  [(20.446,-14.702),(20.04,-14.41),(20.161,-14.241),(20.569,-14.529)],
  [(25.169,-0.852),(24.669,-0.835),(24.675,-0.627),(25.175,-0.64)],
  [(19.137,-16.37),(18.757,-16.045),(18.891,-15.886),(19.274,-16.208)],
  [(25.18,-0.428),(24.68,-0.419),(24.682,-0.212),(25.182,-0.216)],
  [(19.41,-16.045),(19.025,-15.727),(19.156,-15.566),(19.544,-15.881)],
  [(20.691,-14.355),(20.28,-14.07),(20.398,-13.899),(20.811,-14.181)],
  [(19.677,-15.716),(19.287,-15.404),(19.416,-15.241),(19.809,-15.55)],
  [(11.909,-22.189),(11.673,-21.749),(11.856,-21.65),(12.096,-22.088)],
  [(12.65,-21.775),(12.399,-21.343),(12.578,-21.238),(12.833,-21.668)],
  [(12.282,-21.985),(12.038,-21.549),(12.219,-21.447),(12.466,-21.881)],
  [(11.534,-22.387),(11.305,-21.942),(11.489,-21.846),(11.722,-22.289)],
  [(6.395,-24.358),(6.268,-23.874),(6.469,-23.82),(6.6,-24.303)],
  [(0.527,-25.178),(0.517,-24.678),(0.725,-24.673),(0.739,-25.172)],
  [(0.951,-25.165),(0.933,-24.666),(1.14,-24.657),(1.163,-25.156)],
  [(8.82,-23.588),(8.645,-23.12),(8.84,-23.046),(9.019,-23.513)],
  [(8.021,-23.872),(7.862,-23.398),(8.058,-23.331),(8.222,-23.803)],
  [(3.486,-24.941),(3.416,-24.446),(3.622,-24.416),(3.696,-24.911)],
  [(10.001,-23.112),(9.802,-22.653),(9.992,-22.57),(10.195,-23.027)],
  [(5.984,-24.462),(5.865,-23.976),(6.067,-23.926),(6.19,-24.411)],
  [(2.221,-25.085),(2.177,-24.587),(2.384,-24.568),(2.433,-25.065)],
  [(2.644,-25.044),(2.591,-24.547),(2.798,-24.524),(2.854,-25.021)],
  [(5.157,-24.65),(5.055,-24.16),(5.258,-24.117),(5.364,-24.605)],
  [(1.799,-25.119),(1.763,-24.62),(1.97,-24.604),(2.01,-25.103)],
  [(7.618,-24.003),(7.466,-23.527),(7.664,-23.463),(7.82,-23.938)],
  [(9.216,-23.436),(9.033,-22.971),(9.227,-22.894),(9.413,-23.358)],
  [(6.805,-24.246),(6.67,-23.765),(6.87,-23.708),(7.009,-24.188)],
  [(7.212,-24.128),(7.069,-23.649),(7.268,-23.589),(7.415,-24.067)],
  [(8.422,-23.733),(8.255,-23.262),(8.45,-23.192),(8.621,-23.661)],
  [(4.741,-24.733),(4.647,-24.242),(4.851,-24.202),(4.949,-24.692)],
  [(3.065,-24.996),(3.004,-24.5),(3.21,-24.474),(3.275,-24.969)],
  [(0.103,-25.183),(0.101,-24.683),(0.309,-24.681),(0.315,-25.181)],
  [(3.905,-24.879),(3.828,-24.385),(4.033,-24.352),(4.115,-24.845)],
  [(4.324,-24.809),(4.238,-24.317),(4.443,-24.28),(4.533,-24.772)],
  [(9.61,-23.278),(9.419,-22.815),(9.611,-22.735),(9.806,-23.196)],
  [(1.375,-25.146),(1.348,-24.646),(1.555,-24.634),(1.587,-25.133)],
  [(5.571,-24.559),(5.461,-24.072),(5.663,-24.025),(5.778,-24.511)])
R(unnamed_305, PinRec, [(-25.828,-45,-25.328,-44.9), (25.328,-45,25.828,-44.9), (-25.828,44.9,-25.328,45), (25.328,44.9,25.828,45)])
R(unnamed_305, DevRec, [(-28.168,-47.5,28.168,47.5)])
R(unnamed_305, FloorPlan, [(-33.168,-52.5,33.168,52.5)])
unnamed_305.add(gdstk.Label('opt1', (25.578,45), layer=10, texttype=0))
unnamed_305.add(gdstk.Label('opt2', (25.578,-45), layer=10, texttype=0))
unnamed_305.add(gdstk.Label('opt3', (-25.578,45), layer=10, texttype=0))
unnamed_305.add(gdstk.Label('opt4', (-25.578,-45), layer=10, texttype=0))

lib.write_gds('Unnamed_305.gds')
